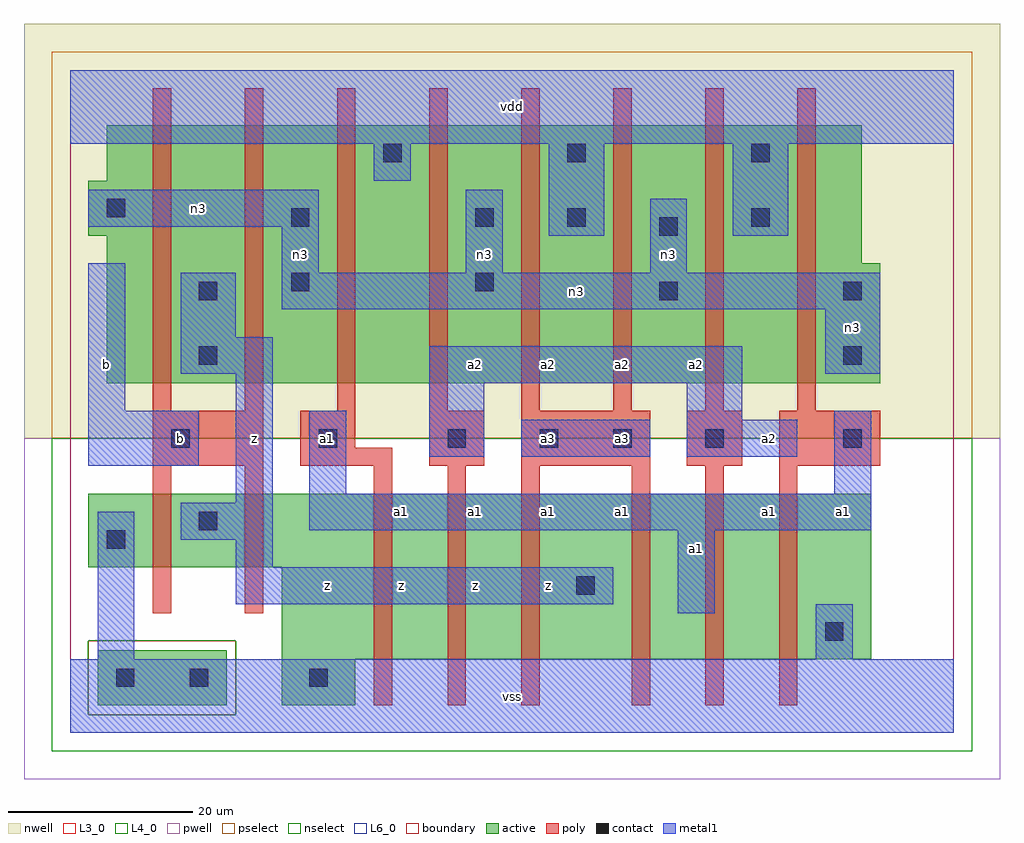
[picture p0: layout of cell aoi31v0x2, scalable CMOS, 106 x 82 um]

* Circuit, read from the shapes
.subckt aoi31v0x2 a1 a2 a3 b n3 vdd vss z
M1 z b vss vss nfet w=8u l=2u m=2
M2 n1 a1 vss vss nfet w=18u l=2u
M3 n2 a2 n1 vss nfet w=18u l=2u
M4 z a3 n2 vss nfet w=18u l=2u
M5 n4 a3 z vss nfet w=18u l=2u
M6 n5 a2 n4 vss nfet w=18u l=2u
M7 vss a1 n5 vss nfet w=18u l=2u
M8 z b n3 n6 pfet w=28u l=2u m=2
M9 vdd a1 n3 n6 pfet w=28u l=2u m=2
M10 n3 a2 vdd n6 pfet w=28u l=2u m=2
M11 vdd a3 n3 n6 pfet w=28u l=2u m=2
.ends

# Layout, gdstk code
import gdstk
lib = gdstk.Library(unit=1e-6, precision=1e-09)
def R(c, l, rs):  # rectangles x0, y0, x1, y1
    for r in rs: c.add(gdstk.rectangle(r[:2], r[2:], *l))
def A(c, l, x, y, w, h, nx, ny, dx, dy):  # array of equal rectangles
    R(c, l, [(x+i*dx, y+j*dy, x+i*dx+w, y+j*dy+h) for i in range(nx) for j in range(ny)])
L3_0 = (3, 0)
L4_0 = (4, 0)
L6_0 = (6, 0)
contact = (25, 0)
pwell = (41, 0)
nwell = (42, 0)
active = (43, 0)
pselect = (44, 0)
nselect = (45, 0)
poly = (46, 0)
metal1 = (49, 0)
boundary = (63, 0)

aoi31v0x2 = lib.new_cell('aoi31v0x2')
R(aoi31v0x2, L3_0, [(23,3,31,8), (23,8,87,18), (2,18,87,26)])
R(aoi31v0x2, L4_0, [(4,38,88,51), (4,51,86,54), (2,54,86,60), (4,60,86,66)])
R(aoi31v0x2, L6_0, [(3,3,17,9)])
A(aoi31v0x2, contact, 34, 62, 2, 2, 3, 1, 20, 0)
R(aoi31v0x2, contact, [(5,5,7,7), (13,5,15,7), (26,5,28,7), (82,10,84,12), (55,15,57,17), (4,20,6,22), (14,22,16,24), (11,31,13,33), (27,31,29,33), (41,31,43,33), (51,31,53,33), (59,31,61,33), (69,31,71,33), (84,31,86,33), (14,40,16,42), (84,40,86,42), (14,47,16,49), (64,47,66,49), (84,47,86,49), (24,48,26,50), (44,48,46,50), (64,54,66,56), (24,55,26,57), (44,55,46,57), (54,55,56,57), (74,55,76,57), (4,56,6,58)])
R(aoi31v0x2, pwell, [(-5,-5,101,32)])
R(aoi31v0x2, nwell, [(-5,32,101,77)])
R(aoi31v0x2, active, [(3,3,17,9), (23,3,31,8), (23,8,87,18), (2,18,87,26), (4,38,88,51), (4,51,86,54), (2,54,86,60), (4,60,86,66)])
R(aoi31v0x2, pselect, [(2,2,18,10), (-2,32,98,74)])
R(aoi31v0x2, nselect, [(-2,-2,98,2), (-2,2,2,10), (18,2,98,10), (-2,10,98,32)])
A(aoi31v0x2, poly, 33, 3, 2, 26, 3, 1, 8, 0)
A(aoi31v0x2, poly, 61, 3, 2, 26, 3, 1, 8, 0)
A(aoi31v0x2, poly, 9, 35, 2, 35, 8, 1, 10, 0)
R(aoi31v0x2, poly, [(9,13,11,29), (19,13,21,29), (9,29,21,35), (25,29,35,31), (39,29,45,35), (49,29,63,35), (67,29,73,35), (77,29,88,35), (25,31,31,35)])
R(aoi31v0x2, metal1, [(0,0,96,8), (3,8,7,24), (81,8,85,14), (66,13,70,22), (18,14,59,18), (18,18,22,21), (12,21,22,25), (26,22,87,26), (18,25,22,39), (26,26,30,35), (83,26,87,35), (2,29,14,35), (39,30,45,38), (49,30,63,34), (67,30,79,34), (67,34,73,38), (2,35,6,51), (39,38,73,42), (12,39,22,43), (82,39,88,46), (12,43,18,50), (23,46,88,50), (23,50,27,55), (43,50,47,59), (63,50,67,58), (52,54,58,64), (72,54,78,64), (2,55,27,59), (33,60,37,64), (0,64,96,72)])
R(aoi31v0x2, boundary, [(0,0,96,72)])
aoi31v0x2.add(gdstk.Label('n3', (25,52), layer=49, texttype=0))
aoi31v0x2.add(gdstk.Label('n3', (14,57), layer=49, texttype=0))
aoi31v0x2.add(gdstk.Label('n3', (45,52), layer=49, texttype=0))
aoi31v0x2.add(gdstk.Label('n3', (55,48), layer=49, texttype=0))
aoi31v0x2.add(gdstk.Label('n3', (85,44), layer=49, texttype=0))
aoi31v0x2.add(gdstk.Label('n3', (65,52), layer=49, texttype=0))
aoi31v0x2.add(gdstk.Label('b', (12,32), layer=49, texttype=0))
aoi31v0x2.add(gdstk.Label('b', (4,40), layer=49, texttype=0))
aoi31v0x2.add(gdstk.Label('z', (28,16), layer=49, texttype=0))
aoi31v0x2.add(gdstk.Label('a1', (28,32), layer=49, texttype=0))
aoi31v0x2.add(gdstk.Label('z', (20,32), layer=49, texttype=0))
aoi31v0x2.add(gdstk.Label('vss', (48,4), layer=49, texttype=0))
aoi31v0x2.add(gdstk.Label('z', (44,16), layer=49, texttype=0))
aoi31v0x2.add(gdstk.Label('z', (52,16), layer=49, texttype=0))
aoi31v0x2.add(gdstk.Label('z', (36,16), layer=49, texttype=0))
aoi31v0x2.add(gdstk.Label('a1', (36,24), layer=49, texttype=0))
aoi31v0x2.add(gdstk.Label('a1', (44,24), layer=49, texttype=0))
aoi31v0x2.add(gdstk.Label('a1', (52,24), layer=49, texttype=0))
aoi31v0x2.add(gdstk.Label('a3', (52,32), layer=49, texttype=0))
aoi31v0x2.add(gdstk.Label('a2', (44,40), layer=49, texttype=0))
aoi31v0x2.add(gdstk.Label('a2', (52,40), layer=49, texttype=0))
aoi31v0x2.add(gdstk.Label('vdd', (48,68), layer=49, texttype=0))
aoi31v0x2.add(gdstk.Label('a1', (60,24), layer=49, texttype=0))
aoi31v0x2.add(gdstk.Label('a1', (76,24), layer=49, texttype=0))
aoi31v0x2.add(gdstk.Label('a1', (68,20), layer=49, texttype=0))
aoi31v0x2.add(gdstk.Label('a2', (76,32), layer=49, texttype=0))
aoi31v0x2.add(gdstk.Label('a3', (60,32), layer=49, texttype=0))
aoi31v0x2.add(gdstk.Label('a2', (60,40), layer=49, texttype=0))
aoi31v0x2.add(gdstk.Label('a2', (68,40), layer=49, texttype=0))
aoi31v0x2.add(gdstk.Label('a1', (84,24), layer=49, texttype=0))

lib.write_gds('aoi31v0x2.gds')
